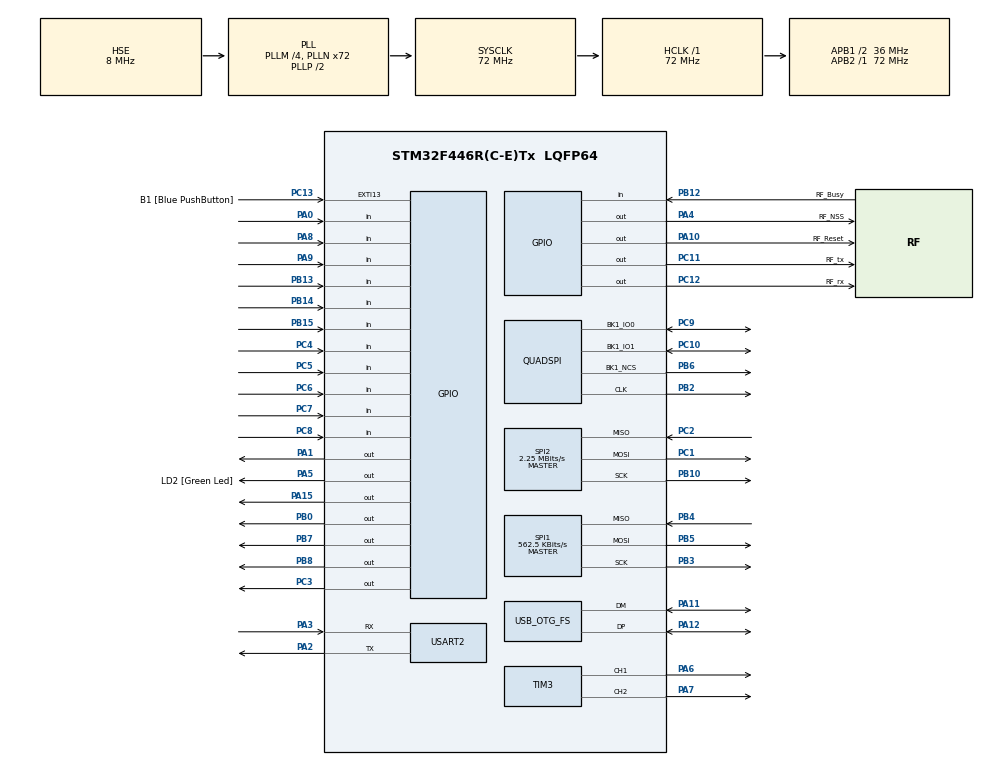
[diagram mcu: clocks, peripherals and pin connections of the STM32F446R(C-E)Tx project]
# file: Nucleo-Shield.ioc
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Mcu.Family=STM32F4
Mcu.Name=STM32F446R(C-E)Tx
Mcu.Package=LQFP64
NVIC.OTG_FS_IRQn=true\:0\:0\:false\:false\:true\:false\:true\:true
NVIC.PriorityGroup=NVIC_PRIORITYGROUP_4
NVIC.TIM1_UP_TIM10_IRQn=true\:15\:0\:false\:false\:true\:false\:true\:true
NVIC.TimeBase=TIM1_UP_TIM10_IRQn
NVIC.TimeBaseIP=TIM1
NVIC.USART2_IRQn=true\:0\:0\:false\:false\:true\:true\:true\:true
PA0-WKUP.Signal=GPIO_Input
PA1.Signal=GPIO_Output
PA10.GPIO_Label=RF_Reset
PA10.Signal=GPIO_Output
PA11.Mode=Device_Only
PA11.Signal=USB_OTG_FS_DM
PA12.Mode=Device_Only
PA12.Signal=USB_OTG_FS_DP
PA13.GPIO_Label=TMS
PA13.Mode=Serial_Wire
PA13.Signal=SYS_JTMS-SWDIO
PA14.GPIO_Label=TCK
PA14.Mode=Serial_Wire
PA14.Signal=SYS_JTCK-SWCLK
PA15.Signal=GPIO_Output
PA2.Mode=Asynchronous
PA2.Signal=USART2_TX
PA3.Mode=Asynchronous
PA3.Signal=USART2_RX
PA4.GPIO_Label=RF_NSS
PA4.Signal=GPIO_Output
PA5.GPIO_Label=LD2 [Green Led]
PA5.Signal=GPIO_Output
PA6.Signal=S_TIM3_CH1
PA7.Signal=S_TIM3_CH2
PA8.Signal=GPIO_Input
PA9.Signal=GPIO_Input
PB0.Signal=GPIO_Output
PB10.Mode=Full_Duplex_Master
PB10.Signal=SPI2_SCK
PB12.GPIO_Label=RF_Busy
PB12.Signal=GPIO_Input
PB13.Signal=GPIO_Input
PB14.Signal=GPIO_Input
PB15.Signal=GPIO_Input
PB2.Mode=Single Bank 1 2IOs
PB2.Signal=QUADSPI_CLK
PB3.Mode=Full_Duplex_Master
PB3.Signal=SPI1_SCK
PB4.Mode=Full_Duplex_Master
PB4.Signal=SPI1_MISO
PB5.Mode=Full_Duplex_Master
PB5.Signal=SPI1_MOSI
PB6.Mode=Single Bank 1 2IOs
PB6.Signal=QUADSPI_BK1_NCS
PB7.Signal=GPIO_Output
PB8.Signal=GPIO_Output
PC1.Mode=Full_Duplex_Master
PC1.Signal=SPI2_MOSI
PC10.Mode=Single Bank 1 2IOs
PC10.Signal=QUADSPI_BK1_IO1
PC11.GPIO_Label=RF_tx
PC11.Signal=GPIO_Output
PC12.GPIO_Label=RF_rx
PC12.Signal=GPIO_Output
PC13.GPIO_Label=B1 [Blue PushButton]
PC13.GPIO_ModeDefaultEXTI=GPIO_MODE_IT_FALLING
PC13.Signal=GPXTI13
PC14-OSC32_IN.Mode=LSE-External-Oscillator
PC14-OSC32_IN.Signal=RCC_OSC32_IN
PC15-OSC32_OUT.Mode=LSE-External-Oscillator
PC15-OSC32_OUT.Signal=RCC_OSC32_OUT
PC2.Mode=Full_Duplex_Master
PC2.Signal=SPI2_MISO
PC3.Signal=GPIO_Output
PC4.Signal=GPIO_Input
PC5.Signal=GPIO_Input
PC6.Signal=GPIO_Input
PC7.Signal=GPIO_Input
PC8.Signal=GPIO_Input
PC9.Mode=Single Bank 1 2IOs
PC9.Signal=QUADSPI_BK1_IO0
PH0-OSC_IN.Mode=HSE-External-Oscillator
PH0-OSC_IN.Signal=RCC_OSC_IN
PH1-OSC_OUT.Mode=HSE-External-Oscillator
PH1-OSC_OUT.Signal=RCC_OSC_OUT
ProjectManager.HeapSize=0x200
ProjectManager.StackSize=0x400
ProjectManager.TargetToolchain=Makefile
QUADSPI.ChipSelectHighTime=QSPI_CS_HIGH_TIME_1_CYCLE
QUADSPI.ClockPrescaler=0
QUADSPI.FifoThreshold=1
QUADSPI.FlashSize=23
QUADSPI.SampleShifting=QSPI_SAMPLE_SHIFTING_NONE
RCC.48MHZClocksFreq_Value=84000000
RCC.AHBFreq_Value=72000000
RCC.APB1CLKDivider=RCC_HCLK_DIV2
RCC.APB1Freq_Value=36000000
RCC.APB1TimFreq_Value=72000000
RCC.APB2Freq_Value=72000000
RCC.APB2TimFreq_Value=72000000
RCC.CortexFreq_Value=72000000
RCC.FLatency-AdvancedSettings=FLASH_LATENCY_2
RCC.HCLKFreq_Value=72000000
RCC.HSE_VALUE=8000000
RCC.HSI_VALUE=16000000
RCC.PLLM=4
RCC.PLLN=72
RCC.PLLQ=3
RCC.SYSCLKFreq_VALUE=72000000
RCC.SYSCLKSource=RCC_SYSCLKSOURCE_PLLCLK
RCC.USBFreq_Value=48000000
RCC.VCOOutputFreq_Value=144000000
SH.S_TIM3_CH1.0=TIM3_CH1,PWM Generation1 CH1
SH.S_TIM3_CH2.0=TIM3_CH2,PWM Generation2 CH2
SPI1.BaudRatePrescaler=SPI_BAUDRATEPRESCALER_128
SPI1.CalculateBaudRate=562.5 KBits/s
SPI1.Direction=SPI_DIRECTION_2LINES
SPI1.Mode=SPI_MODE_MASTER
SPI1.VirtualType=VM_MASTER
SPI2.BaudRatePrescaler=SPI_BAUDRATEPRESCALER_16
SPI2.CalculateBaudRate=2.25 MBits/s
SPI2.DataSize=SPI_DATASIZE_8BIT
SPI2.Direction=SPI_DIRECTION_2LINES
SPI2.Mode=SPI_MODE_MASTER
SPI2.VirtualType=VM_MASTER
TIM3.Channel-PWM\ Generation1\ CH1=TIM_CHANNEL_1
TIM3.Channel-PWM\ Generation2\ CH2=TIM_CHANNEL_2
USART2.VirtualMode=VM_ASYNC
USB_DEVICE.CLASS_NAME_FS=MSC
USB_DEVICE.VirtualMode-MSC_FS=Msc
USB_DEVICE.VirtualModeFS=Msc_FS
USB_OTG_FS.VirtualMode=Device_Only
VP_SYS_VS_tim1.Mode=TIM1
VP_USB_DEVICE_VS_USB_DEVICE_MSC_FS.Mode=MSC_FS
board=NUCLEO-F446RE

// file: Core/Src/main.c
/* USER CODE BEGIN Header */
/**
 ******************************************************************************
 * @file           : main.c
 * @brief          : Main program body
 ******************************************************************************
 * @attention
 *
 * Copyright (c) 2024 STMicroelectronics.
 * All rights reserved.
 *
 * This software is licensed under terms that can be found in the LICENSE file
 * in the root directory of this software component.
 * If no LICENSE file comes with this software, it is provided AS-IS.
 *
 ******************************************************************************
 */
/* USER CODE END Header */
#include "main.h"
#include "quadspi.h"
#include "spi.h"
#include "tim.h"
#include "usart.h"
#include "usb_otg.h"
#include "gpio.h"

/* USER CODE BEGIN Includes */
#include <stdio.h>
#include <stdarg.h>

#if ENABLE_UNIT_TESTS
#include <tests.hpp>
#else
#include <app.hpp>
#endif

/* USER CODE END Includes */

/* USER CODE BEGIN PV */
// receive
uint8_t rx_index;
uint8_t rxdata[2];
uint8_t rxBuffer[100];
uint8_t transfer_cplt;

/* USER CODE END PV */

void SystemClock_Config(void);

/* USER CODE BEGIN 0 */
#define DEBUG_BUFFER_SIZE 256

/* USER CODE END 0 */

int main(void)
{

  /* MCU Configuration--------------------------------------------------------*/

  /* Reset of all peripherals, Initializes the Flash interface and the Systick. */
  HAL_Init();

  /* Configure the system clock */
  SystemClock_Config();

  /* Initialize all configured peripherals */
  MX_GPIO_Init();
  MX_QUADSPI_Init();
  MX_SPI1_Init();
  MX_SPI2_Init();
  MX_TIM3_Init();
  MX_USART2_UART_Init();
  MX_USB_OTG_FS_PCD_Init();
  /* USER CODE BEGIN 2 */

#if ENABLE_UNIT_TESTS
  testsSetup();
#else
  setup();
#endif
  /* USER CODE END 2 */

  /* Infinite loop */
  /* USER CODE BEGIN WHILE */
  while (1)
  {

#if ENABLE_UNIT_TESTS
    testsLoop();
#else
    loop();
#endif

    /* USER CODE END WHILE */

  }
}

void SystemClock_Config(void)
{
  RCC_OscInitTypeDef RCC_OscInitStruct = {0};
  RCC_ClkInitTypeDef RCC_ClkInitStruct = {0};

  /** Configure the main internal regulator output voltage
  */
  __HAL_RCC_PWR_CLK_ENABLE();
  __HAL_PWR_VOLTAGESCALING_CONFIG(PWR_REGULATOR_VOLTAGE_SCALE3);

  /** Initializes the RCC Oscillators according to the specified parameters
  * in the RCC_OscInitTypeDef structure.
  */
  RCC_OscInitStruct.OscillatorType = RCC_OSCILLATORTYPE_HSE;
  RCC_OscInitStruct.HSEState = RCC_HSE_ON;
  RCC_OscInitStruct.PLL.PLLState = RCC_PLL_ON;
  RCC_OscInitStruct.PLL.PLLSource = RCC_PLLSOURCE_HSE;
  RCC_OscInitStruct.PLL.PLLM = 4;
  RCC_OscInitStruct.PLL.PLLN = 72;
  RCC_OscInitStruct.PLL.PLLP = RCC_PLLP_DIV2;
  RCC_OscInitStruct.PLL.PLLQ = 3;
  RCC_OscInitStruct.PLL.PLLR = 2;
  if (HAL_RCC_OscConfig(&RCC_OscInitStruct) != HAL_OK)
  {
    Error_Handler();
  }

  /** Initializes the CPU, AHB and APB buses clocks
  */
  RCC_ClkInitStruct.ClockType = RCC_CLOCKTYPE_HCLK|RCC_CLOCKTYPE_SYSCLK
                              |RCC_CLOCKTYPE_PCLK1|RCC_CLOCKTYPE_PCLK2;
  RCC_ClkInitStruct.SYSCLKSource = RCC_SYSCLKSOURCE_PLLCLK;
  RCC_ClkInitStruct.AHBCLKDivider = RCC_SYSCLK_DIV1;
  RCC_ClkInitStruct.APB1CLKDivider = RCC_HCLK_DIV2;
  RCC_ClkInitStruct.APB2CLKDivider = RCC_HCLK_DIV1;

  if (HAL_RCC_ClockConfig(&RCC_ClkInitStruct, FLASH_LATENCY_2) != HAL_OK)
  {
    Error_Handler();
  }
}

void HAL_TIM_PeriodElapsedCallback(TIM_HandleTypeDef *htim)
{
  if (htim->Instance == TIM1) {
    HAL_IncTick();
  }
}

void Error_Handler(void)
{
  __disable_irq();
  while (1)
  {
  }
}
